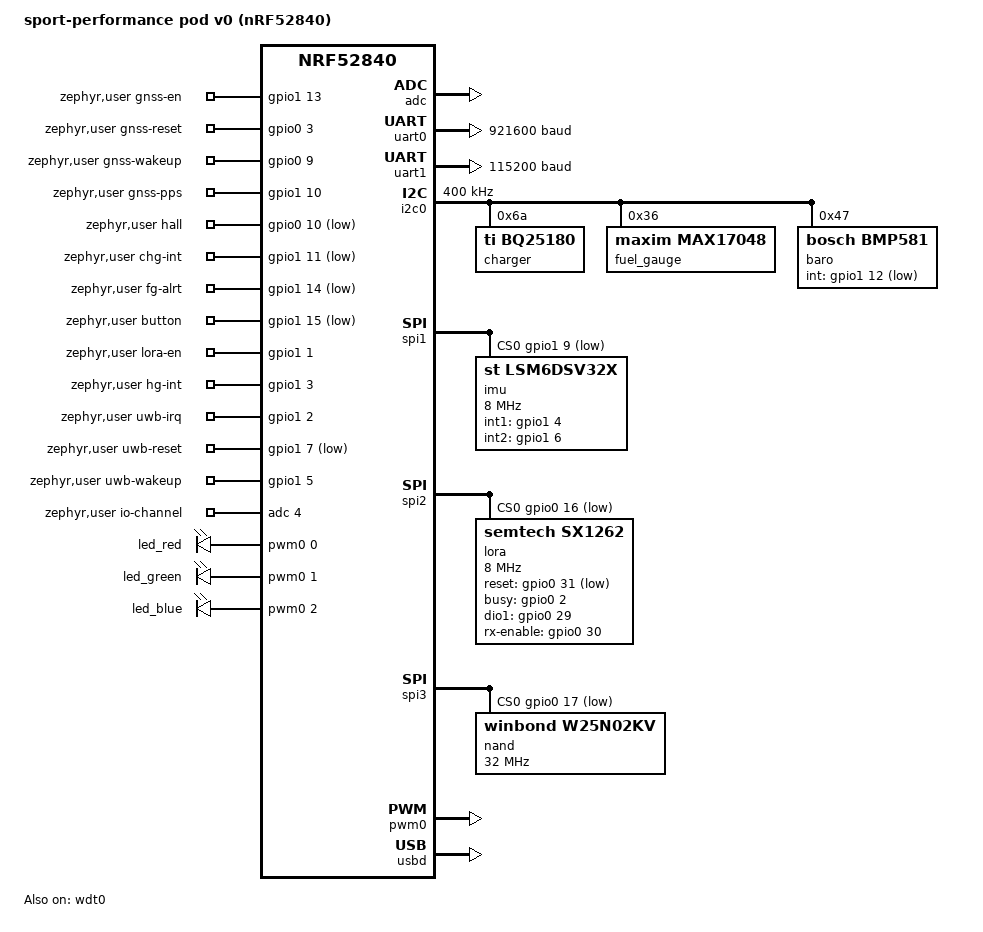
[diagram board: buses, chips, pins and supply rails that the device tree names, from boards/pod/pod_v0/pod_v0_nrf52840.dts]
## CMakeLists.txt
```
# Pod firmware (B-904): Zephyr application on the nRF Connect SDK.
#
#   west build -b pod_v0/nrf52840 sport-performance/firmware/app
#   west build -b nrf52840dk/nrf52840 sport-performance/firmware/app
#
# The custom board lives in app/boards (the application directory is a board root by default).
cmake_minimum_required(VERSION 3.20.0)

find_package(Zephyr REQUIRED HINTS $ENV{ZEPHYR_BASE})
project(pod_firmware C)

set(POD_LIB_DIR ${CMAKE_CURRENT_LIST_DIR}/../lib)

target_include_directories(app PRIVATE ${POD_LIB_DIR}/include src)

# Portable library: the same sources the host tests check against the golden fixtures,
# with the PSA backend instead of the reference software crypto.
target_sources(app PRIVATE
  ${POD_LIB_DIR}/src/crypto_psa.c
  ${POD_LIB_DIR}/src/crypto_selftest.c
  ${POD_LIB_DIR}/src/radio.c
  ${POD_LIB_DIR}/src/counters.c
  ${POD_LIB_DIR}/src/log.c
  ${POD_LIB_DIR}/src/gnss.c
  ${POD_LIB_DIR}/src/led.c
  ${POD_LIB_DIR}/src/power.c
  ${POD_LIB_DIR}/src/time_base.c)

# Zephyr glue, one file per module.
target_sources(app PRIVATE
  src/main.c
  src/boot_counter.c
  src/wdt.c
  src/led.c
  src/power.c
  src/hall.c
  src/time_base.c
  src/gnss_lc29h.c
  src/log_nand.c
  src/lora_link.c
  src/sensors.c)

zephyr_compile_definitions(POD_FIRMWARE_VERSION_MAJOR=${APP_VERSION_MAJOR}
                           POD_FIRMWARE_VERSION_MINOR=${APP_VERSION_MINOR}
                           POD_FIRMWARE_VERSION_PATCH=${APP_PATCHLEVEL})
```

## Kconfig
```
# Application options of the pod firmware (B-904).

menu "Pod firmware"

config POD_HW_REVISION
	int "Hardware revision written in firmware_info"
	default 0

config POD_GNSS_BAUD
	int "LC29H UART speed"
	default 921600
	help
	  The firmware starts at this speed and falls back to 115200 to reconfigure
	  the module (docs/hardware/lc29h-protocolo.md, "UART").

config POD_GNSS_FALLBACK_BAUD
	int "LC29H factory UART speed (not stated in the specification)"
	default 115200

config POD_CHARGE_CURRENT_MA
	int "BQ25180 charge current"
	default 300
	range 10 350
	help
	  300–350 mA: the BQ25180 is linear; more would fold back on temperature
	  inside the closed case (pod-v0.md).

config POD_WDT_TIMEOUT_MS
	int "nRF watchdog timeout"
	default 4000

config POD_MAIN_LOOP_MS
	int "Period of the power / LED loop"
	default 100

config POD_LORA
	bool "LoRa link (Ra-01SH, SX1262)"
	default y
	depends on LORA

config POD_SENSORS
	bool "IMU and barometer through the Zephyr sensor API"
	default y
	depends on SENSOR

endmenu

module = POD
module-str = pod
source "subsys/logging/Kconfig.template.log_config"

source "Kconfig.zephyr"
```

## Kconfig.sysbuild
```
# Sysbuild options of the pod firmware.

source "share/sysbuild/Kconfig"

config POD_RELEASE_BUILD
	bool "Release build of the pod firmware"
	help
	  A release image must be signed with the production key (kept outside the
	  repository). With this option the build fails if the MCUboot signing key is
	  still the public development key (see sysbuild.cmake).
```

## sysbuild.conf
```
# Sysbuild: MCUboot with signed images (ADR 0106, "Arranque seguro"), swap with test and
# confirm and automatic revert.
#
# SIGNING KEY: this file does NOT set SB_CONFIG_BOOT_SIGNATURE_KEY_FILE, so development builds
# (and CI) sign with MCUboot's public development key (bootloader/mcuboot/root-ec-p256.pem).
# That key is public: an image signed with it must never reach a pod in the field. Release
# builds pass -DSB_CONFIG_POD_RELEASE_BUILD=y and -DSB_CONFIG_BOOT_SIGNATURE_KEY_FILE=<key
# outside the repository>; sysbuild.cmake refuses a release signed with the development key.
# No key is committed to the repository (firmware/README.md, "Firma y MCUboot").
SB_CONFIG_BOOTLOADER_MCUBOOT=y
SB_CONFIG_BOOT_SIGNATURE_TYPE_ECDSA_P256=y
SB_CONFIG_MCUBOOT_MODE_SWAP_USING_MOVE=y
# Layout from the devicetree (flash0 partitions), never from the deprecated Partition
# Manager: the NVS partition of the counters stays at the same address in every update.
SB_CONFIG_PARTITION_MANAGER=n
```

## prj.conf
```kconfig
# Pod firmware (B-904), common to both boards.

# Logging (RTT on the pod, UART on the DK through the board conf).
CONFIG_LOG=y
CONFIG_POD_LOG_LEVEL_INF=y
CONFIG_MAIN_STACK_SIZE=4096
CONFIG_SYSTEM_WORKQUEUE_STACK_SIZE=2048

# Peripherals.
CONFIG_GPIO=y
CONFIG_SERIAL=y
CONFIG_UART_INTERRUPT_DRIVEN=y
CONFIG_SPI=y
CONFIG_I2C=y
CONFIG_PWM=y
CONFIG_ADC=y
CONFIG_HWINFO=y

# The nRF52840 WDT is mandatory (pod-v0.md): never disabled at boot by the bootloader either.
CONFIG_WATCHDOG=y
CONFIG_WDT_DISABLE_AT_BOOT=n

# System OFF (sys_poweroff) for the "System OFF" power state.
CONFIG_POWEROFF=y

# LoRa: SX1262 driver of Zephyr (loramac-node HAL).
CONFIG_LORA=y

# IMU (LSM6DSV32X) and barometer (BMP581) drivers.
CONFIG_SENSOR=y

# Persistent counters (boot counter, page sequence reservation, segment id): NVS in the
# internal flash (ADR 0106).
CONFIG_FLASH=y
CONFIG_FLASH_MAP=y
CONFIG_NVS=y
CONFIG_SETTINGS=y
CONFIG_SETTINGS_NVS=y

# PSA Crypto on the CryptoCell-310 (nrf_security): AES-128 CTR, CMAC, CCM and HKDF-SHA256.
CONFIG_PSA_CRYPTO=y
CONFIG_PSA_CRYPTO_DRIVER_CC3XX=y
CONFIG_PSA_WANT_KEY_TYPE_AES=y
CONFIG_PSA_WANT_AES_KEY_SIZE_128=y
CONFIG_PSA_WANT_ALG_CTR=y
CONFIG_PSA_WANT_ALG_CMAC=y
CONFIG_PSA_WANT_ALG_ECB_NO_PADDING=y
CONFIG_PSA_WANT_ALG_CCM=y
CONFIG_PSA_WANT_ALG_HKDF=y
CONFIG_PSA_WANT_ALG_HMAC=y
CONFIG_PSA_WANT_ALG_SHA_256=y

# MCUboot image confirmation after the boot self-test (boot_write_img_confirmed).
CONFIG_STREAM_FLASH=y
CONFIG_IMG_MANAGER=y
CONFIG_MCUBOOT_IMG_MANAGER=y

# PPS capture: generic PPI allocator (channels shared with the BLE controller).
CONFIG_NRFX_GPPI=y
```

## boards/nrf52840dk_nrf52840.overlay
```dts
/*
 * Bench setup on the nRF52840 DK (PCA10056) before the pod v0 PCB exists:
 * LC29H breakout, Ai-Thinker Ra-01SH, LSM6DSV32X evaluation board and a W25N
 * breakout wired to the DK headers. The wiring table is in firmware/README.md
 * ("Cableado del DK"); keep both in sync.
 *
 * Low-frequency pins: the Arduino SPI header of the DK (P1.13–P1.15) and the
 * A0–A5 / D8–D9 pins used here for the IMU and the LoRa are "low frequency" pins
 * of the nRF52840 (pod-v0.md); they are fine for the bench at reduced SPI speed
 * (1 MHz below) and the pod v0 keeps every SPI on fast pins.
 *
 * Differences with the pod: the console stays on UARTE0 (J-Link VCOM) and the
 * GNSS goes to UARTE1; button 1 stands in for the Hall sensor (pressed = in the
 * vest) and LEDs 1–3 for the RGB LED. There is no load switch, charger nor
 * fuel gauge unless their breakouts are wired to the I2C header.
 */

/ {
	zephyr,user {
		gnss-uart = <&uart1>;
		gnss-en-gpios = <&gpio1 4 GPIO_ACTIVE_HIGH>;	/* D3 → EN of the breakout (or unwired) */
		gnss-reset-gpios = <&gpio1 5 GPIO_ACTIVE_HIGH>;	/* D4 → NMOS gate to RESET_N */
		gnss-wakeup-gpios = <&gpio1 6 GPIO_ACTIVE_HIGH>;	/* D5 → WAKEUP */
		gnss-pps-gpios = <&gpio1 3 (GPIO_ACTIVE_HIGH | GPIO_PULL_UP)>;	/* D2 ← 1PPS */
		hall-gpios = <&gpio0 11 (GPIO_ACTIVE_LOW | GPIO_PULL_UP)>;	/* button 1 */
		button-gpios = <&gpio0 12 (GPIO_ACTIVE_LOW | GPIO_PULL_UP)>;	/* button 2 */
	};

	pwmleds {
		compatible = "pwm-leds";

		led_red: led_red {
			pwms = <&pwm0 0 PWM_USEC(1000) PWM_POLARITY_INVERTED>;	/* LED1 */
		};
		led_green: led_green {
			pwms = <&pwm0 1 PWM_USEC(1000) PWM_POLARITY_INVERTED>;	/* LED2 */
		};
		led_blue: led_blue {
			pwms = <&pwm0 2 PWM_USEC(1000) PWM_POLARITY_INVERTED>;	/* LED3 */
		};
	};

	aliases {
		led-red = &led_red;
		led-green = &led_green;
		led-blue = &led_blue;
	};
};

&pinctrl {
	pod_uart1_default: pod_uart1_default {
		group1 {
			psels = <NRF_PSEL(UART_TX, 1, 2)>;	/* D1 → LC29H RXD (2,8 V: translator) */
		};
		group2 {
			psels = <NRF_PSEL(UART_RX, 1, 1)>;	/* D0 ← LC29H TXD (2,8 V: translator) */
			bias-pull-up;
		};
	};

	pod_uart1_sleep: pod_uart1_sleep {
		group1 {
			psels = <NRF_PSEL(UART_TX, 1, 2)>,
				<NRF_PSEL(UART_RX, 1, 1)>;
			low-power-enable;
		};
	};

	pod_spi1_default: pod_spi1_default {
		group1 {
			psels = <NRF_PSEL(SPIM_SCK, 0, 31)>,	/* A5 */
				<NRF_PSEL(SPIM_MOSI, 0, 30)>,	/* A4 */
				<NRF_PSEL(SPIM_MISO, 0, 29)>;	/* A3 */
		};
	};

	pod_spi1_sleep: pod_spi1_sleep {
		group1 {
			psels = <NRF_PSEL(SPIM_SCK, 0, 31)>,
				<NRF_PSEL(SPIM_MOSI, 0, 30)>,
				<NRF_PSEL(SPIM_MISO, 0, 29)>;
			low-power-enable;
		};
	};

	pod_spi2_default: pod_spi2_default {
		group1 {
			psels = <NRF_PSEL(SPIM_SCK, 1, 15)>,	/* D13 */
				<NRF_PSEL(SPIM_MOSI, 1, 13)>,	/* D11 */
				<NRF_PSEL(SPIM_MISO, 1, 14)>;	/* D12 */
		};
	};

	pod_spi2_sleep: pod_spi2_sleep {
		group1 {
			psels = <NRF_PSEL(SPIM_SCK, 1, 15)>,
				<NRF_PSEL(SPIM_MOSI, 1, 13)>,
				<NRF_PSEL(SPIM_MISO, 1, 14)>;
			low-power-enable;
		};
	};

	pod_spi3_default: pod_spi3_default {
		group1 {
			psels = <NRF_PSEL(SPIM_SCK, 1, 7)>,	/* D6 */
				<NRF_PSEL(SPIM_MOSI, 1, 8)>,	/* D7 */
				<NRF_PSEL(SPIM_MISO, 1, 9)>;	/* P1.09 (P24 header) */
		};
	};

	pod_spi3_sleep: pod_spi3_sleep {
		group1 {
			psels = <NRF_PSEL(SPIM_SCK, 1, 7)>,
				<NRF_PSEL(SPIM_MOSI, 1, 8)>,
				<NRF_PSEL(SPIM_MISO, 1, 9)>;
			low-power-enable;
		};
	};

	pod_pwm0_default: pod_pwm0_default {
		group1 {
			psels = <NRF_PSEL(PWM_OUT0, 0, 13)>,	/* LED1 */
				<NRF_PSEL(PWM_OUT1, 0, 14)>,	/* LED2 */
				<NRF_PSEL(PWM_OUT2, 0, 15)>;	/* LED3 */
		};
	};

	pod_pwm0_sleep: pod_pwm0_sleep {
		group1 {
			psels = <NRF_PSEL(PWM_OUT0, 0, 13)>,
				<NRF_PSEL(PWM_OUT1, 0, 14)>,
				<NRF_PSEL(PWM_OUT2, 0, 15)>;
			low-power-enable;
		};
	};
};

/* GNSS on UARTE1 (the console keeps UARTE0 on the J-Link VCOM). */
&uart1 {
	compatible = "nordic,nrf-uarte";
	status = "okay";
	current-speed = <921600>;
	pinctrl-0 = <&pod_uart1_default>;
	pinctrl-1 = <&pod_uart1_sleep>;
	pinctrl-names = "default", "sleep";
};

/* Arduino I2C header: BMP581, MAX17048 and BQ25180 breakouts if wired. */
&i2c0 {
	compatible = "nordic,nrf-twim";
	status = "okay";
	clock-frequency = <I2C_BITRATE_FAST>;

	charger: bq25180@6a {
		compatible = "ti,bq25180";
		reg = <0x6a>;
		status = "disabled";
	};

	fuel_gauge: max17048@36 {
		compatible = "maxim,max17048";
		reg = <0x36>;
		status = "disabled";
	};

	baro: bmp581@47 {
		compatible = "bosch,bmp581";
		reg = <0x47>;
	};
};

/* LSM6DSV32X evaluation board (the IMU of the pod v0, WHO_AM_I 0x70). */
&spi1 {
	compatible = "nordic,nrf-spim";
	status = "okay";
	pinctrl-0 = <&pod_spi1_default>;
	pinctrl-1 = <&pod_spi1_sleep>;
	pinctrl-names = "default", "sleep";
	cs-gpios = <&gpio0 28 GPIO_ACTIVE_LOW>;	/* A2 */

	imu: lsm6dsv32x@0 {
		compatible = "st,lsm6dsv32x";
		reg = <0>;
		spi-max-frequency = <1000000>;
		int1-gpios = <&gpio0 2 GPIO_ACTIVE_HIGH>;	/* P0.02 (AREF pin) */
	};
};

/* Ra-01SH (SX1262 with a plain crystal: no TCXO on DIO3). */
&spi2 {
	compatible = "nordic,nrf-spim";
	status = "okay";
	pinctrl-0 = <&pod_spi2_default>;
	pinctrl-1 = <&pod_spi2_sleep>;
	pinctrl-names = "default", "sleep";
	cs-gpios = <&gpio1 12 GPIO_ACTIVE_LOW>;	/* D10 → NSS */

	lora: ra01sh@0 {
		compatible = "semtech,sx1262";
		reg = <0>;
		spi-max-frequency = <1000000>;
		reset-gpios = <&gpio0 3 GPIO_ACTIVE_LOW>;	/* A0 → NRST */
		busy-gpios = <&gpio1 11 GPIO_ACTIVE_HIGH>;	/* D9 ← BUSY */
		dio1-gpios = <&gpio1 10 GPIO_ACTIVE_HIGH>;	/* D8 ← DIO1 */
		rx-enable-gpios = <&gpio0 4 GPIO_ACTIVE_HIGH>;	/* A1 → RXEN */
		dio2-tx-enable;
	};
};

/* W25N02KV breakout (the DK's own QSPI NOR stays on its QSPI pins). */
&spi3 {
	compatible = "nordic,nrf-spim";
	status = "okay";
	pinctrl-0 = <&pod_spi3_default>;
	pinctrl-1 = <&pod_spi3_sleep>;
	pinctrl-names = "default", "sleep";
	cs-gpios = <&gpio1 0 GPIO_ACTIVE_LOW>;	/* P1.00 (P24 header) */

	nand: w25n02kv@0 {
		compatible = "winbond,w25n02kv";
		reg = <0>;
		spi-max-frequency = <1000000>;
		blocks = <2048>;
		pages-per-block = <64>;
		jedec-device-id = <0xaa22>;
	};
};

&pwm0 {
	status = "okay";
	pinctrl-0 = <&pod_pwm0_default>;
	pinctrl-1 = <&pod_pwm0_sleep>;
	pinctrl-names = "default", "sleep";
};

&wdt0 {
	status = "okay";
};
```

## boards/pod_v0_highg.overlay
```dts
/*
 * Pod v0, assembly variant pod-v0-highg (B-909): the ADXL372 (U403, ±200 g) is
 * mounted, on 2 of the 5 v0 boards, to measure how often the ±32 g of the
 * LSM6DSV32X saturate in contacts (docs/hardware/cotizacion/costos.md). Build:
 *
 *   west build -b pod_v0/nrf52840 sport-performance/firmware/app -- -DBOARD_ROOT=. \
 *     -DEXTRA_DTC_OVERLAY_FILE=boards/pod_v0_highg.overlay
 *
 * HG_INT (P1.03) then belongs to the ADXL372: the NAND load switch (U502, which
 * could use it as NAND_EN) is not mounted on this variant.
 */

&hg_accel {
	status = "okay";
};
```

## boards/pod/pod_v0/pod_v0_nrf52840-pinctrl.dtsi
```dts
/*
 * Pin assignment of the pod v0, from the table "Asignación" of
 * docs/hardware/pod-v0.md (u-blox BMD-340 pads in the comments).
 */

&pinctrl {
	/* UARTE0: LC29H through the 3,4 V ↔ 2,8 V translator. */
	uart0_default: uart0_default {
		group1 {
			psels = <NRF_PSEL(UART_TX, 0, 6)>;	/* GNSS_TX, pad 22 */
		};
		group2 {
			psels = <NRF_PSEL(UART_RX, 0, 8)>;	/* GNSS_RX, pad 24 */
			/* The translator is high-Z with the GNSS off: internal pull-up. */
			bias-pull-up;
		};
	};

	uart0_sleep: uart0_sleep {
		group1 {
			psels = <NRF_PSEL(UART_TX, 0, 6)>,
				<NRF_PSEL(UART_RX, 0, 8)>;
			low-power-enable;
		};
	};

	/* UARTE1: backup console pad (the main console is RTT). */
	uart1_default: uart1_default {
		group1 {
			psels = <NRF_PSEL(UART_TX, 0, 22)>;	/* DBG_TX, pad 40 */
		};
		group2 {
			psels = <NRF_PSEL(UART_RX, 0, 23)>;	/* DBG_RX, pad 41 */
			bias-pull-up;
		};
	};

	uart1_sleep: uart1_sleep {
		group1 {
			psels = <NRF_PSEL(UART_TX, 0, 22)>,
				<NRF_PSEL(UART_RX, 0, 23)>;
			low-power-enable;
		};
	};

	/* TWIM0: BQ25180, MAX17048, BMP581 (DPS368 not mounted). 4,7 kΩ pull-ups on the board. */
	i2c0_default: i2c0_default {
		group1 {
			psels = <NRF_PSEL(TWIM_SDA, 0, 12)>,	/* I2C_SDA, pad 28 */
				<NRF_PSEL(TWIM_SCL, 0, 7)>;	/* I2C_SCL, pad 23 */
		};
	};

	i2c0_sleep: i2c0_sleep {
		group1 {
			psels = <NRF_PSEL(TWIM_SDA, 0, 12)>,
				<NRF_PSEL(TWIM_SCL, 0, 7)>;
			low-power-enable;
		};
	};

	/* SPIM1: sensor bus (LSM6DSV32X; ADXL372 on pod-v0-highg; DWM3000 and ICM-42688-P not mounted), 8 MHz. */
	spi1_default: spi1_default {
		group1 {
			psels = <NRF_PSEL(SPIM_SCK, 0, 14)>,	/* SENS_SCK, pad 32 */
				<NRF_PSEL(SPIM_MOSI, 0, 13)>,	/* SENS_MOSI, pad 31 */
				<NRF_PSEL(SPIM_MISO, 0, 15)>;	/* SENS_MISO, pad 33 */
		};
	};

	spi1_sleep: spi1_sleep {
		group1 {
			psels = <NRF_PSEL(SPIM_SCK, 0, 14)>,
				<NRF_PSEL(SPIM_MOSI, 0, 13)>,
				<NRF_PSEL(SPIM_MISO, 0, 15)>;
			low-power-enable;
		};
	};

	/* SPIM2: own bus of the Ra-01SH (SX1262), 8 MHz. */
	spi2_default: spi2_default {
		group1 {
			psels = <NRF_PSEL(SPIM_SCK, 0, 24)>,	/* LORA_SCK, pad 42 */
				<NRF_PSEL(SPIM_MOSI, 0, 25)>,	/* LORA_MOSI, pad 6 */
				<NRF_PSEL(SPIM_MISO, 1, 0)>;	/* LORA_MISO, pad 56 */
		};
	};

	spi2_sleep: spi2_sleep {
		group1 {
			psels = <NRF_PSEL(SPIM_SCK, 0, 24)>,
				<NRF_PSEL(SPIM_MOSI, 0, 25)>,
				<NRF_PSEL(SPIM_MISO, 1, 0)>;
			low-power-enable;
		};
	};

	/*
	 * SPIM3: own bus of the W25N NAND on the recommended QSPI pins, up to 32 MHz:
	 * high drive (H0H1) as the nRF52840 asks at 32 MHz (RXDELAY is set by the driver).
	 */
	spi3_default: spi3_default {
		group1 {
			psels = <NRF_PSEL(SPIM_SCK, 0, 19)>,	/* NAND_SCK, pad 37 */
				<NRF_PSEL(SPIM_MOSI, 0, 20)>,	/* NAND_MOSI, pad 38 */
				<NRF_PSEL(SPIM_MISO, 0, 21)>;	/* NAND_MISO, pad 36 */
			nordic,drive-mode = <NRF_DRIVE_H0H1>;
		};
	};

	spi3_sleep: spi3_sleep {
		group1 {
			psels = <NRF_PSEL(SPIM_SCK, 0, 19)>,
				<NRF_PSEL(SPIM_MOSI, 0, 20)>,
				<NRF_PSEL(SPIM_MISO, 0, 21)>;
			low-power-enable;
		};
	};

	/* PWM0: gates of the three NMOS of the RGB LED (100 kΩ pull-downs on the gates). */
	pwm0_default: pwm0_default {
		group1 {
			psels = <NRF_PSEL(PWM_OUT0, 0, 11)>,	/* LED_R, pad 27 */
				<NRF_PSEL(PWM_OUT1, 0, 5)>,	/* LED_G, pad 21 */
				<NRF_PSEL(PWM_OUT2, 1, 8)>;	/* LED_B, pad 51 */
		};
	};

	pwm0_sleep: pwm0_sleep {
		group1 {
			psels = <NRF_PSEL(PWM_OUT0, 0, 11)>,
				<NRF_PSEL(PWM_OUT1, 0, 5)>,
				<NRF_PSEL(PWM_OUT2, 1, 8)>;
			low-power-enable;
		};
	};

	/* PWM1: buzzer NMOS (not mounted). */
	pwm1_default: pwm1_default {
		group1 {
			psels = <NRF_PSEL(PWM_OUT0, 0, 4)>;	/* BUZZER, pad 20 */
		};
	};

	pwm1_sleep: pwm1_sleep {
		group1 {
			psels = <NRF_PSEL(PWM_OUT0, 0, 4)>;
			low-power-enable;
		};
	};
};
```

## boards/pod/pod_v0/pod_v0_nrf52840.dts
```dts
/*
 * Pod v0 (B-909): u-blox BMD-340 (nRF52840), LC29H, Ai-Thinker Ra-01SH (SX1262),
 * LSM6DSV32X, W25N02KV, BQ25180, MAX17048, BMP581 (in-stock redesign of
 * 09/11/2026). Every pin comes from docs/hardware/pod-v0.md ("Pines del
 * nRF52840"); keep both in sync. The nRF52840 port pins are the same as with
 * the Raytac module: only the module pads in the comments changed.
 */

/dts-v1/;
#include <nordic/nrf52840_qiaa.dtsi>
#include "pod_v0_nrf52840-pinctrl.dtsi"

/ {
	model = "sport-performance pod v0 (nRF52840)";
	compatible = "sport-performance,pod-v0";

	chosen {
		zephyr,console = &uart1;
		zephyr,shell-uart = &uart1;
		zephyr,code-partition = &slot0_partition;
		zephyr,flash = &flash0;
		zephyr,sram = &sram0;
	};

	/*
	 * Application GPIOs without a Zephyr driver (read by app/src/*.c with
	 * GPIO_DT_SPEC_GET_OR). Every enable has a 100 kΩ pull-down on the board,
	 * so the rails stay off during reset, DFU and the System OFF wake-up.
	 */
	zephyr,user {
		gnss-uart = <&uart0>;
		/* EN of the 3,2 V LDO of the GNSS (active discharge): the GNSS power cut. */
		gnss-en-gpios = <&gpio1 13 GPIO_ACTIVE_HIGH>;	/* GNSS_EN, pad 62 */
		/* NPN/NMOS open drain to RESET_N: high here = module in reset (≥ 100 ms). */
		gnss-reset-gpios = <&gpio0 3 GPIO_ACTIVE_HIGH>;	/* GNSS_RST, pad 19 */
		/* WAKEUP (3,0–3,6 V high): ≥ 10 ms pulse out of backup, input otherwise. */
		gnss-wakeup-gpios = <&gpio0 9 GPIO_ACTIVE_HIGH>;	/* GNSS_WAKEUP, pad 25 (NFC1) */
		/* 1PPS: GPIOTE → PPI → TIMER capture (app/src/time_base.c). */
		gnss-pps-gpios = <&gpio1 10 (GPIO_ACTIVE_HIGH | GPIO_PULL_UP)>;	/* pad 53 */
		/* DRV5032FA (or FB) push-pull through a series resistor: low = pod in the vest. */
		hall-gpios = <&gpio0 10 GPIO_ACTIVE_LOW>;	/* HALL_INT, pad 26 (NFC2) */
		/* BQ25180 /INT, open drain, 128 µs pulse. */
		chg-int-gpios = <&gpio1 11 (GPIO_ACTIVE_LOW | GPIO_PULL_UP)>;	/* pad 54 */
		/* MAX17048 /ALRT, open drain. */
		fg-alrt-gpios = <&gpio1 14 (GPIO_ACTIVE_LOW | GPIO_PULL_UP)>;	/* pad 63 */
		/* Bench button to GND. */
		button-gpios = <&gpio1 15 (GPIO_ACTIVE_LOW | GPIO_PULL_UP)>;	/* pad 64 */
		/* ON of the TPS22919 load switch of the Ra-01SH (U303). */
		lora-en-gpios = <&gpio1 1 GPIO_ACTIVE_HIGH>;	/* LORA_EN, pad 57 */
		/* ADXL372 INT1 (not mounted) or NAND_EN by 0 Ω: one or the other. */
		hg-int-gpios = <&gpio1 3 GPIO_ACTIVE_HIGH>;	/* pad 59 */
		/* DWM3000 (not mounted). */
		uwb-irq-gpios = <&gpio1 2 GPIO_ACTIVE_HIGH>;	/* pad 58 */
		uwb-reset-gpios = <&gpio1 7 (GPIO_ACTIVE_LOW | GPIO_OPEN_DRAIN)>;	/* pad 50 */
		uwb-wakeup-gpios = <&gpio1 5 GPIO_ACTIVE_HIGH>;	/* pad 48 */
		/* Divider from SYS (not mounted) on AIN4: rescue if the MAX17048 fails. */
		io-channels = <&adc 4>;	/* VBAT_ADC = P0.28, pad 9 */
	};

	pwmleds {
		compatible = "pwm-leds";

		led_red: led_red {
			pwms = <&pwm0 0 PWM_USEC(1000) PWM_POLARITY_NORMAL>;
		};
		led_green: led_green {
			pwms = <&pwm0 1 PWM_USEC(1000) PWM_POLARITY_NORMAL>;
		};
		led_blue: led_blue {
			pwms = <&pwm0 2 PWM_USEC(1000) PWM_POLARITY_NORMAL>;
		};
	};

	aliases {
		watchdog0 = &wdt0;
		led-red = &led_red;
		led-green = &led_green;
		led-blue = &led_blue;
	};
};

/*
 * REG0 (the VDDH stage) is not used: VDD and VDDH both on VREG (normal voltage
 * mode) and DCCH unconnected (pod-v0.md), so its DC/DC stays off. No &reg0 node.
 */

/*
 * VCC and VCCH of the BMD-340 tied to VREG (3,4 V): LV (normal) mode of its data
 * sheet (table 8), DC/DC of Reg1 on (inductor inside the module).
 */
&reg1 {
	regulator-initial-mode = <NRF5X_REG_MODE_DCDC>;
};

/*
 * UICR, written at the first programming (production step, B-909): NFC pads
 * P0.09/P0.10 as GPIO (GNSS WAKEUP and Hall) and P0.18 as nRESET.
 */
&uicr {
	nfct-pins-as-gpios;
	gpio-as-nreset;
};

&nfct {
	status = "disabled";
};

&gpiote {
	status = "okay";
};

&gpio0 {
	status = "okay";
	/* XL1/XL2 carry the 32,768 kHz crystal; P0.18 is nRESET. */
	gpio-reserved-ranges = <0 2>, <18 1>;
};

&gpio1 {
	status = "okay";
};

&adc {
	status = "okay";
};

&wdt0 {
	status = "okay";
};

/* GNSS, 921600 bps by default (lc29h-protocolo.md); the driver falls back to 115200. */
&uart0 {
	compatible = "nordic,nrf-uarte";
	status = "okay";
	current-speed = <921600>;
	pinctrl-0 = <&uart0_default>;
	pinctrl-1 = <&uart0_sleep>;
	pinctrl-names = "default", "sleep";
};

/* Backup console. */
&uart1 {
	compatible = "nordic,nrf-uarte";
	status = "okay";
	current-speed = <115200>;
	pinctrl-0 = <&uart1_default>;
	pinctrl-1 = <&uart1_sleep>;
	pinctrl-names = "default", "sleep";
};

&i2c0 {
	compatible = "nordic,nrf-twim";
	status = "okay";
	clock-frequency = <I2C_BITRATE_FAST>;
	pinctrl-0 = <&i2c0_default>;
	pinctrl-1 = <&i2c0_sleep>;
	pinctrl-names = "default", "sleep";

	/* The application writes its registers itself (pod/power.h): the Zephyr driver stays off. */
	charger: bq25180@6a {
		compatible = "ti,bq25180";
		reg = <0x6a>;
	};

	/* VDD and CELL on the cell: measures even with SYS cut. Address not verified. */
	fuel_gauge: max17048@36 {
		compatible = "maxim,max17048";
		reg = <0x36>;
	};

	/* SDO to VDDIO (0x47), CSB to VDDIO (I2C), INT open drain active low. Not verified. */
	baro: bmp581@47 {
		compatible = "bosch,bmp581";
		reg = <0x47>;
		int-gpios = <&gpio1 12 (GPIO_ACTIVE_LOW | GPIO_PULL_UP)>;	/* BARO_INT, pad 61 */
	};
};

&spi1 {
	compatible = "nordic,nrf-spim";
	status = "okay";
	pinctrl-0 = <&spi1_default>;
	pinctrl-1 = <&spi1_sleep>;
	pinctrl-names = "default", "sleep";
	cs-gpios = <&gpio1 9 GPIO_ACTIVE_LOW>,	/* IMU_CS, pad 52 */
		   <&gpio0 27 GPIO_ACTIVE_LOW>,	/* UWB_CS, pad 8 (static CS) */
		   <&gpio0 26 GPIO_ACTIVE_LOW>;	/* HG_CS, pad 7 (static CS) */

	/*
	 * LSM6DSV32X (WHO_AM_I 0x70): driven by the lsm6dsv16x driver of NCS 3.4.1
	 * (compatible st,lsm6dsv32x). Channel 1 at ±16 g for the run; the second
	 * channel, fixed at ±32 g, is read by imu_batch (firmware/README.md).
	 */
	imu: lsm6dsv32x@0 {
		compatible = "st,lsm6dsv32x";
		reg = <0>;
		spi-max-frequency = <8000000>;
		accel-range = <16>;
		int1-gpios = <&gpio1 4 GPIO_ACTIVE_HIGH>;	/* IMU_INT1, pad 60: motion wake-up */
		int2-gpios = <&gpio1 6 GPIO_ACTIVE_HIGH>;	/* IMU_INT2, pad 49 */
	};

	/*
	 * ADXL372 (±200 g, U403): mounted only on the pod-v0-highg assembly variant
	 * (2 of the 5 v0 boards). Enable it there with boards/pod_v0_highg.overlay.
	 */
	hg_accel: adxl372@2 {
		compatible = "adi,adxl372";
		reg = <2>;
		spi-max-frequency = <8000000>;
		int1-gpios = <&gpio1 3 GPIO_ACTIVE_HIGH>;	/* HG_INT, pad 59 */
		status = "disabled";
	};
};

&spi2 {
	compatible = "nordic,nrf-spim";
	status = "okay";
	pinctrl-0 = <&spi2_default>;
	pinctrl-1 = <&spi2_sleep>;
	pinctrl-names = "default", "sleep";
	cs-gpios = <&gpio0 16 GPIO_ACTIVE_LOW>;	/* LORA_NSS, pad 34 */

	/*
	 * Ai-Thinker Ra-01SH: plain crystal, no TCXO (no dio3-tcxo-voltage). Its RF
	 * switch follows DIO2 inside the module (TXEN tied to DIO2, module schematic);
	 * RXEN is driven anyway, high to receive. Frequency error checked on the
	 * bench (pod-v0.md); fallback with TCXO: NiceRF LoRa1262-915TCXO.
	 */
	lora: ra01sh@0 {
		compatible = "semtech,sx1262";
		reg = <0>;
		spi-max-frequency = <8000000>;
		reset-gpios = <&gpio0 31 GPIO_ACTIVE_LOW>;	/* LORA_NRST, pad 12 */
		busy-gpios = <&gpio0 2 GPIO_ACTIVE_HIGH>;	/* LORA_BUSY, pad 15 */
		dio1-gpios = <&gpio0 29 GPIO_ACTIVE_HIGH>;	/* LORA_DIO1, pad 10 */
		rx-enable-gpios = <&gpio0 30 GPIO_ACTIVE_HIGH>;	/* LORA_RXEN, pad 11 */
		dio2-tx-enable;
	};
};

&spi3 {
	compatible = "nordic,nrf-spim";
	status = "okay";
	pinctrl-0 = <&spi3_default>;
	pinctrl-1 = <&spi3_sleep>;
	pinctrl-names = "default", "sleep";
	cs-gpios = <&gpio0 17 GPIO_ACTIVE_LOW>;	/* NAND_CS, pad 35 */
	/* Errata 198: the SPIM3 buffers live in their own RAM block (app/src/log_nand.c). */

	nand: w25n02kv@0 {
		compatible = "winbond,w25n02kv";
		reg = <0>;
		spi-max-frequency = <32000000>;
		blocks = <2048>;
		pages-per-block = <64>;
		jedec-device-id = <0xaa22>;
	};
};

&pwm0 {
	status = "okay";
	pinctrl-0 = <&pwm0_default>;
	pinctrl-1 = <&pwm0_sleep>;
	pinctrl-names = "default", "sleep";
};

/* Buzzer, not mounted. */
&pwm1 {
	status = "disabled";
	pinctrl-0 = <&pwm1_default>;
	pinctrl-1 = <&pwm1_sleep>;
	pinctrl-names = "default", "sleep";
};

/*
 * Flash layout, pinned here (no Partition Manager, SB_CONFIG_PARTITION_MANAGER=n):
 * MCUboot, two application slots of 472 KB for the swap (ADR 0106: about
 * 450 KB each) and the NVS of the persistent counters at the end. Changing
 * these addresses in an update would lose the boot counter and the page
 * sequence reservation: never move `storage_partition`.
 */
&flash0 {
	partitions {
		ranges;
		#address-cells = <1>;
		#size-cells = <1>;

		boot_partition: partition@0 {
			compatible = "zephyr,mapped-partition";
			label = "mcuboot";
			reg = <0x00000000 0x0000c000>;
		};
		slot0_partition: partition@c000 {
			compatible = "zephyr,mapped-partition";
			label = "image-0";
			reg = <0x0000c000 0x00076000>;
		};
		slot1_partition: partition@82000 {
			compatible = "zephyr,mapped-partition";
			label = "image-1";
			reg = <0x00082000 0x00076000>;
		};
		storage_partition: partition@f8000 {
			compatible = "zephyr,mapped-partition";
			label = "storage";
			reg = <0x000f8000 0x00008000>;
		};
	};
};

/* USB through the dock pads (D+/D- pads 68/67, VBUS pad 66 after the input switch). */
zephyr_udc0: &usbd {
	compatible = "nordic,nrf-usbd";
	status = "okay";
};
```

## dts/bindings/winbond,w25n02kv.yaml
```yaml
description: |
  Winbond W25N02KV serial NAND (2 Gbit: 2048 blocks of 64 pages of 2048 B plus
  128 B of spare), the NAND of the pod v0, on SPI, driven by the pod firmware
  itself (app/src/log_nand.c): the log format needs the page ECC status and the
  bad-block marker, which the generic flash API does not expose. The W25N04KV
  (4 Gbit, 4096 blocks) fits the same footprint with the same commands and the
  same 24-bit page address: set `blocks` and `jedec-device-id` for it (Winbond
  datasheets W25N02KVxxIR/U Rev. G and W25N04KVxxIR/U Rev. C).

compatible: 'winbond,w25n02kv'

include: spi-device.yaml

properties:
  blocks:
    type: int
    required: true
    description: Erase blocks (2048 in the W25N02KV, 4096 in the W25N04KV).

  pages-per-block:
    type: int
    default: 64
    description: Pages per erase block.

  jedec-device-id:
    type: int
    required: true
    description: |
      Device ID after the Winbond manufacturer byte EFh in the JEDEC ID (9Fh):
      0xAA22 for the W25N02KV, 0xAA23 for the W25N04KV. The driver refuses a
      chip that does not match, so `blocks` never claims blocks the chip lacks.

  enable-gpios:
    type: phandle-array
    description: |
      EN of the optional load switch of the NAND rail (NAND_EN, not mounted on
      the v0). Never cut during a program or an erase.
```

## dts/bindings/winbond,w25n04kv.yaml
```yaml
description: |
  Winbond W25N04KV / W25N02KV serial NAND (2048 B pages, 64 pages per block) on
  SPI, driven by the pod firmware itself (app/src/log_nand.c): the log format
  needs the page ECC status and the bad-block marker, which the generic flash
  API does not expose.

compatible: 'winbond,w25n04kv'

include: spi-device.yaml

properties:
  blocks:
    type: int
    required: true
    description: Erase blocks (4096 in the W25N04KV, 2048 in the W25N02KV).

  pages-per-block:
    type: int
    default: 64
    description: Pages per erase block.

  enable-gpios:
    type: phandle-array
    description: |
      EN of the optional load switch of the NAND rail (NAND_EN, not mounted on
      the v0). Never cut during a program or an erase.
```

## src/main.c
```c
/*
 * Pod firmware (B-904): boot, self-test and the power / LED loop.
 *
 * Boot order: watchdog first (mandatory), LED (white boot pattern), crypto
 * known-answer self-test, persistent counters (boot counter saved before any
 * TX), charger plan (EN_PUSH, 15 s watchdog, charge current), Hall, time base,
 * sensors, NAND, GNSS and LoRa. A failed self-test shows its number on the LED
 * and the pod neither records nor transmits.
 *
 * The loop feeds the inputs (VBUS, Hall, motion, battery) to the power state
 * machine of firmware/lib/src/power.c and executes its actions.
 */
#include <zephyr/dfu/mcuboot.h>
#include <zephyr/kernel.h>
#include <zephyr/logging/log.h>

#include "pod/crypto.h"
#include "pod/selftest.h"
#include "pod_app.h"

LOG_MODULE_REGISTER(pod_main, CONFIG_POD_LOG_LEVEL);

static void fail_forever(int code)
{
	LOG_ERR("self-test failed: %d", code);
	pod_led_show(POD_LED_SELFTEST_ERROR, (uint8_t)code);
	for (;;) {
		pod_led_update(k_uptime_get_32(), pod_power_vsys_mv());
		pod_wdt_feed();
		k_msleep(CONFIG_POD_MAIN_LOOP_MS);
	}
}

static void log_firmware_info(void)
{
	struct pod_log_record r = {
		.type = POD_REC_FIRMWARE_INFO,
		.tick = pod_tick_now(),
		.u.firmware_info = {
			.major = POD_FIRMWARE_VERSION_MAJOR,
			.minor = POD_FIRMWARE_VERSION_MINOR,
			.patch = POD_FIRMWARE_VERSION_PATCH,
			.build_id = 0, /* TODO(B-904): first 4 B of the git commit from the build */
			.hardware_revision = CONFIG_POD_HW_REVISION,
			.algorithm_version = 1,
			.radio_protocol_version = POD_PROTOCOL_VERSION,
			.log_format_version = POD_LOG_FORMAT_VERSION,
			.gnss_firmware = pod_gnss_version(),
		},
	};

	(void)pod_log_append(&r);
}

static enum pod_led_state led_for(enum pod_power_state state, bool vbus, uint8_t battery_pct)
{
	struct pod_gnss_pvt pvt;

	if (battery_pct != 127 && battery_pct < 5) {
		return POD_LED_BATTERY_CRITICAL;
	}
	if (battery_pct != 127 && battery_pct < 20 && !vbus) {
		return POD_LED_BATTERY_LOW;
	}
	switch (state) {
	case POD_POWER_DOCKED:
		/* TODO(B-904): full, downloading and download error from the charger and USB. */
		return POD_LED_DOCK_CHARGING;
	case POD_POWER_ACTIVE:
		pod_gnss_latest(&pvt);
		/* TODO(B-904): link with the gateway (beacons) decides READY vs NO_LINK. */
		return pvt.valid ? POD_LED_RECORDING_NO_LINK : POD_LED_GNSS_SEARCH;
	default:
		return POD_LED_OFF;
	}
}

static void execute(struct pod_power_machine *machine, const struct pod_power_inputs *in,
		    const struct pod_power_result *r)
{
	if (r->actions & POD_PWR_ACT_CLOSE_SESSION) {
		(void)pod_log_close_segment();
	}
	if (r->actions & POD_PWR_ACT_GNSS_BACKUP) {
		(void)pod_gnss_power(false);
		(void)pod_time_base_capture(false);
	}
	if (r->actions & POD_PWR_ACT_LORA_OFF) {
		(void)pod_lora_power(false);
	}
	if (r->actions & POD_PWR_ACT_IMU_LOW_POWER) {
		(void)pod_sensors_low_power(true);
	}
	if (r->actions & POD_PWR_ACT_GNSS_ON) {
		(void)pod_time_base_capture(true);
		(void)pod_gnss_power(true);
	}
	if (r->actions & POD_PWR_ACT_LORA_ON) {
		(void)pod_lora_power(true);
	}
	if (r->actions & POD_PWR_ACT_IMU_SESSION_RATE) {
		(void)pod_sensors_low_power(false);
	}
	if (r->actions & POD_PWR_ACT_OPEN_SESSION) {
		if (pod_log_start_segment() == 0) {
			log_firmware_info();
		}
	}
	if (r->actions & POD_PWR_ACT_SHIP_MODE) {
		(void)pod_power_ship_mode();
	}
	if (r->actions & POD_PWR_ACT_SYSTEM_OFF) {
		struct pod_power_config cfg;
		struct pod_wake_plan plan;

		/* TODO(B-904): the club configuration replaces the placeholder defaults. */
		pod_power_config_defaults(&cfg);
		plan = pod_power_wake_plan(&cfg, in->in_vest);
		if (pod_power_system_off(&plan) != 0) {
			/* A wake source is active: stay in standby and let the machine retry. */
			pod_power_init(machine, &cfg, in);
		}
	}
}

static struct pod_power_inputs read_inputs(void)
{
	struct pod_power_inputs in = {
		.now_ms = k_uptime_get_32(),
		.vbus = pod_power_vbus(),
		.in_vest = pod_hall_in_vest(),
		.moving = pod_sensors_moving(),
		.battery_pct = pod_power_battery_pct(),
		.nand_idle = pod_log_idle(),
	};

	/* TODO(B-904): app close and ship requests arrive over BLE / the beacon. */
	return in;
}

int main(void)
{
	struct pod_power_machine machine;
	struct pod_power_config cfg;
	struct pod_power_inputs in;
	int rc;

	if (pod_wdt_init() != 0) {
		LOG_ERR("watchdog");
	}
	(void)pod_led_init();
	rc = pod_crypto_init();
	if (rc == 0) {
		rc = pod_crypto_selftest();
	}
	if (rc != 0) {
		fail_forever(rc > 0 ? rc : POD_SELFTEST_CCM);
	}
	if (pod_persist_init() != 0) {
		/*
		 * Not confirmed: an update that cannot use its counters (NVS) is
		 * reverted by MCUboot at the next reset.
		 */
		LOG_ERR("persistent counters: the pod will neither transmit nor record");
	} else if (!boot_is_img_confirmed() && boot_write_img_confirmed() != 0) {
		/* Self-test passed and counters committed: keep this image after a test swap. */
		LOG_ERR("image not confirmed: MCUboot will revert it");
	}
	if (pod_power_hw_init() != 0) {
		LOG_WRN("charger not configured");
	}
	(void)pod_hall_init();
	(void)pod_time_base_init();
	if (pod_sensors_init() != 0) {
		LOG_WRN("sensors incomplete");
	}
	if (pod_log_init() != 0) {
		LOG_WRN("NAND not found");
	}
	if (pod_gnss_init() != 0) {
		LOG_WRN("GNSS boot sequence incomplete");
	}
	if (pod_lora_init() != 0) {
		LOG_WRN("LoRa not ready");
	}

	pod_power_config_defaults(&cfg);
	in = read_inputs();
	pod_power_init(&machine, &cfg, &in);
	LOG_INF("pod up, state %d", machine.state);

	for (;;) {
		struct pod_power_result r;
		struct pod_pps_anchor anchor;

		in = read_inputs();
		r = pod_power_step(&machine, &in);
		execute(&machine, &in, &r);
		pod_power_service(in.now_ms);
		if (pod_time_base_poll_pps(&anchor)) {
			/* TODO(B-904): pair with the GNSS second of the epoch → `time_anchor` record. */
			LOG_DBG("PPS at tick %llu + %u ns", (unsigned long long)anchor.tick,
				anchor.sub_tick_ns);
		}
		pod_led_show(led_for(r.state, in.vbus, in.battery_pct), 0);
		pod_led_update(in.now_ms, pod_power_vsys_mv());
		pod_wdt_feed();
		k_msleep(CONFIG_POD_MAIN_LOOP_MS);
	}
	return 0;
}
```

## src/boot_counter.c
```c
/*
 * Settings (NVS) backend of the persistent counters. The rules (commit after
 * save, page-sequence reservation, never reuse) are pure in
 * firmware/lib/src/counters.c and host-tested with a fake store.
 *
 * The NVS lives in `storage_partition`, pinned in the devicetree of the board
 * so a firmware update never moves it. A chip erase or a recover wipes it:
 * the counters restart, so the pod must be re-keyed (new key epoch) at the
 * dock before it transmits or records again (firmware/README.md).
 */
#include <errno.h>

#include <zephyr/kernel.h>
#include <zephyr/logging/log.h>
#include <zephyr/settings/settings.h>

#include "pod/counters.h"
#include "pod_app.h"

LOG_MODULE_REGISTER(pod_counters, CONFIG_POD_LOG_LEVEL);

static const char *const names[] = {
	[POD_COUNTER_BOOT] = "pod/boot",
	[POD_COUNTER_PAGE_SEQ_RESERVED] = "pod/pageseq",
	[POD_COUNTER_SEGMENT_ID] = "pod/segment",
};

static uint32_t loaded[3];
static struct pod_counters counters;
static K_MUTEX_DEFINE(lock);

static int set(const char *name, size_t len, settings_read_cb read_cb, void *cb_arg)
{
	static const char *const keys[] = {"boot", "pageseq", "segment"};

	for (size_t i = 0; i < ARRAY_SIZE(keys); i++) {
		if (settings_name_steq(name, keys[i], NULL)) {
			if (len != sizeof(uint32_t)) {
				return -EINVAL;
			}
			return read_cb(cb_arg, &loaded[i], sizeof(uint32_t)) == sizeof(uint32_t)
				       ? 0
				       : -EIO;
		}
	}
	return -ENOENT;
}

SETTINGS_STATIC_HANDLER_DEFINE(pod, "pod", NULL, set, NULL, NULL);

static int store_load(void *ctx, enum pod_counter_key key, uint32_t *value)
{
	ARG_UNUSED(ctx);
	*value = loaded[key];
	return 0;
}

static int store_save(void *ctx, enum pod_counter_key key, uint32_t value)
{
	ARG_UNUSED(ctx);
	return settings_save_one(names[key], &value, sizeof(value));
}

int pod_persist_init(void)
{
	const struct pod_counter_store store = {.load = store_load, .save = store_save};
	int rc = settings_subsys_init();

	if (rc == 0) {
		rc = settings_load_subtree("pod");
	}
	if (rc != 0) {
		LOG_ERR("settings: %d", rc);
		return rc;
	}
	k_mutex_lock(&lock, K_FOREVER);
	rc = pod_counters_boot(&counters, &store);
	k_mutex_unlock(&lock);
	if (rc != POD_OK) {
		/* Not ready: the pod neither transmits nor records (nonce / IV safety). */
		LOG_ERR("counters not committed (%d)", rc);
		return -EIO;
	}
	LOG_INF("boot %u, page sequence from %u", counters.boot, counters.page_seq_next);
	return 0;
}

bool pod_persist_ready(void)
{
	return pod_counters_ready(&counters);
}

uint32_t pod_persist_boot(void)
{
	return counters.boot;
}

int pod_persist_set_boot(uint32_t boot_counter)
{
	int rc;

	k_mutex_lock(&lock, K_FOREVER);
	rc = pod_counters_set_boot(&counters, boot_counter);
	k_mutex_unlock(&lock);
	return rc;
}

int pod_persist_take_page_seq(void *ctx, uint32_t *page_seq)
{
	int rc;

	ARG_UNUSED(ctx);
	k_mutex_lock(&lock, K_FOREVER);
	rc = pod_counters_take_page_seq(&counters, page_seq);
	k_mutex_unlock(&lock);
	return rc;
}

int pod_persist_next_segment(uint32_t *segment_id)
{
	int rc;

	k_mutex_lock(&lock, K_FOREVER);
	rc = pod_counters_next_segment(&counters, segment_id);
	k_mutex_unlock(&lock);
	return rc;
}
```

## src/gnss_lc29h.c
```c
/*
 * LC29H on UARTE0 (UARTE1 on the DK): power and pins, the boot command
 * sequence with its acknowledgements, and the RX path that splits NMEA lines
 * from RTCM3 frames (firmware/lib/src/gnss.c, host-tested).
 *
 * Stub status (B-904): the sequence and parsers are real; the baud fallback,
 * the 1 Hz raw selection into `gnss_raw` records and the epoch/PPS pairing are
 * TODO until the bench (banco-gnss.md, B-901) confirms the module behaviour.
 */
#include <stdlib.h>
#include <string.h>

#include <zephyr/drivers/gpio.h>
#include <zephyr/drivers/uart.h>
#include <zephyr/kernel.h>
#include <zephyr/logging/log.h>
#include <zephyr/sys/ring_buffer.h>

#include "pod_app.h"

LOG_MODULE_REGISTER(pod_gnss, CONFIG_POD_LOG_LEVEL);

#define USER_NODE DT_PATH(zephyr_user)

static const struct device *const uart = DEVICE_DT_GET(DT_PHANDLE(USER_NODE, gnss_uart));
static const struct gpio_dt_spec en = GPIO_DT_SPEC_GET_OR(USER_NODE, gnss_en_gpios, {0});
static const struct gpio_dt_spec reset = GPIO_DT_SPEC_GET_OR(USER_NODE, gnss_reset_gpios, {0});
static const struct gpio_dt_spec wakeup = GPIO_DT_SPEC_GET_OR(USER_NODE, gnss_wakeup_gpios, {0});

RING_BUF_DECLARE(rx_ring, 4096);
static K_SEM_DEFINE(rx_sem, 0, 1);
static K_SEM_DEFINE(ack_sem, 0, 1);
static K_MUTEX_DEFINE(pvt_lock);

static struct pod_gnss_stream stream;
static struct pod_gnss_pvt latest;
static struct pod_gnss_pvt building;
static char version[65];

/*
 * What the command runner (the GNSS worker thread, the only one that writes to
 * the UART) is waiting for; read by the RX thread under `wait_lock`.
 */
static struct k_spinlock wait_lock;
static const struct pod_gnss_command *waiting;
static int waiting_result;
/* Configuration answers of step 1 that match `pod_lc29h_aa_expected` (bitmask). */
static uint32_t answers_matching;

/* Power wanted by the main loop; the worker applies it. */
static atomic_t want_on;
static K_SEM_DEFINE(request_sem, 0, 1);

static void uart_isr(const struct device *dev, void *user_data)
{
	ARG_UNUSED(user_data);
	while (uart_irq_update(dev) && uart_irq_rx_ready(dev)) {
		uint8_t buf[64];
		int n = uart_fifo_read(dev, buf, sizeof(buf));

		if (n <= 0) {
			break;
		}
		if (ring_buf_put(&rx_ring, buf, (uint32_t)n) != (uint32_t)n) {
			/* Overrun: the parser resyncs on the next '$' or 0xD3. */
		}
		k_sem_give(&rx_sem);
	}
}

static bool starts_with(const char *body, size_t len, const char *name)
{
	size_t n = strlen(name);

	return len >= n && memcmp(body, name, n) == 0 && (len == n || body[n] == ',');
}

static void handle_ack_locked(const struct pod_gnss_command *cmd, const char *body, size_t len)
{
	char name[32];
	const char *comma;
	size_t name_len;

	comma = strchr(cmd->body, ',');
	name_len = comma ? (size_t)(comma - cmd->body) : strlen(cmd->body);
	if (name_len >= sizeof(name)) {
		return;
	}
	memcpy(name, cmd->body, name_len);
	name[name_len] = '\0';

	switch (cmd->expect) {
	case POD_GNSS_EXPECT_PAIR_ACK: {
		uint16_t id;
		int result;

		if (pod_pair_ack_parse(body, len, &id, &result) == POD_OK &&
		    strtoul(&name[4], NULL, 10) == id && result != POD_PAIR_PROCESSING) {
			waiting_result = result;
			k_sem_give(&ack_sem);
		}
		break;
	}
	case POD_GNSS_EXPECT_PQTM_OK: {
		int rc = pod_pqtm_response_parse(body, len, name);

		if (rc >= 0) {
			waiting_result = rc;
			k_sem_give(&ack_sem);
		}
		break;
	}
	case POD_GNSS_EXPECT_RESPONSE:
		if (starts_with(body, len, name)) {
			bool matches;
			int idx = pod_lc29h_check_answer(body, len, &matches);

			if (idx >= 0 && matches) {
				answers_matching |= BIT(idx);
			}
			if (strcmp(name, "PQTMVERNO") == 0) {
				size_t n = MIN(len - name_len - 1, sizeof(version) - 1);

				memcpy(version, &body[name_len + 1], n);
				version[n] = '\0';
			}
			waiting_result = 0;
			k_sem_give(&ack_sem);
		}
		break;
	default:
		break;
	}
}

static void handle_ack(const char *body, size_t len)
{
	k_spinlock_key_t key = k_spin_lock(&wait_lock);

	if (waiting != NULL) {
		handle_ack_locked(waiting, body, len);
	}
	k_spin_unlock(&wait_lock, key);
}

static void set_waiting(const struct pod_gnss_command *cmd)
{
	k_spinlock_key_t key = k_spin_lock(&wait_lock);

	waiting = cmd;
	k_spin_unlock(&wait_lock, key);
}

static void on_nmea(void *ctx, const char *line, size_t len)
{
	const char *body;
	size_t body_len;

	ARG_UNUSED(ctx);
	if (pod_nmea_verify(line, len, &body, &body_len) != POD_OK) {
		return;
	}
	if (starts_with(body, body_len, "PQTMPVT")) {
		if (pod_pqtmpvt_parse(body, body_len, &building) == POD_OK) {
			k_mutex_lock(&pvt_lock, K_FOREVER);
			latest = building;
			k_mutex_unlock(&pvt_lock);
			/* TODO(B-904): gnss_pvt record into the log and live summary update. */
		}
	} else if (starts_with(body, body_len, "PQTMVEL")) {
		(void)pod_pqtmvel_parse(body, body_len, &building);
	} else if (starts_with(body, body_len, "PQTMEPE")) {
		(void)pod_pqtmepe_parse(body, body_len, &building);
	} else {
		handle_ack(body, body_len);
	}
}

static void on_rtcm(void *ctx, const uint8_t *frame, size_t len)
{
	ARG_UNUSED(ctx);
	ARG_UNUSED(frame);
	/*
	 * TODO(B-904): collect the MSM7 + ephemerides frames of the whole-second
	 * epoch into one `gnss_raw` record (format rtcm3_msm7) at 1 Hz; drop the
	 * other nine epochs if the module outputs raw at 10 Hz.
	 */
	LOG_DBG("RTCM frame %u B", (unsigned int)len);
}

static int send_command(const struct pod_gnss_command *cmd)
{
	char line[POD_NMEA_MAX_LEN];
	int n = pod_nmea_build(cmd->body, line, sizeof(line));

	if (n < 0) {
		return n;
	}
	for (int attempt = 0; attempt < 3; attempt++) {
		k_sem_reset(&ack_sem);
		set_waiting(cmd);
		for (int i = 0; i < n; i++) {
			uart_poll_out(uart, line[i]);
		}
		if (cmd->expect == POD_GNSS_EXPECT_NONE) {
			set_waiting(NULL);
			break;
		}
		if (k_sem_take(&ack_sem, K_MSEC(cmd->timeout_ms)) != 0) {
			set_waiting(NULL);
			LOG_WRN("%s: no answer", cmd->body);
			return -ETIMEDOUT;
		}
		set_waiting(NULL);
		if (cmd->expect == POD_GNSS_EXPECT_PAIR_ACK && waiting_result == POD_PAIR_BUSY) {
			continue; /* retry on "busy" */
		}
		if (waiting_result != 0) {
			/* Every unsupported command is logged: it reveals a variant or firmware change. */
			LOG_WRN("%s: result %d", cmd->body, waiting_result);
			return -EIO;
		}
		break;
	}
	if (cmd->delay_after_ms != 0) {
		k_sleep(K_MSEC(cmd->delay_after_ms));
	}
	return 0;
}

static int run_sequence(const struct pod_gnss_command *seq, size_t n)
{
	int failures = 0;

	for (size_t i = 0; i < n; i++) {
		if (send_command(&seq[i]) != 0) {
			failures++;
		}
	}
	return failures == 0 ? 0 : -EIO;
}

static void rx_thread(void *a, void *b, void *c)
{
	ARG_UNUSED(a);
	ARG_UNUSED(b);
	ARG_UNUSED(c);
	for (;;) {
		uint8_t buf[128];
		uint32_t n;

		k_sem_take(&rx_sem, K_FOREVER);
		while ((n = ring_buf_get(&rx_ring, buf, sizeof(buf))) > 0) {
			pod_gnss_stream_feed(&stream, buf, n);
		}
	}
}

K_THREAD_DEFINE(gnss_rx, 2048, rx_thread, NULL, NULL, NULL, 5, 0, 0);

static void pin_actions(const struct pod_gnss_pin_action *actions, size_t n)
{
	for (size_t i = 0; i < n; i++) {
		switch (actions[i].step) {
		case POD_GNSS_STEP_SEND_COMMANDS:
			(void)run_sequence(pod_lc29h_enter_backup, pod_lc29h_enter_backup_len);
			break;
		case POD_GNSS_STEP_EN_LOW:
			(void)gpio_pin_set_dt(&en, 0);
			break;
		case POD_GNSS_STEP_EN_HIGH:
			(void)gpio_pin_set_dt(&en, 1);
			break;
		case POD_GNSS_STEP_WAKEUP_HIGH:
			(void)gpio_pin_configure_dt(&wakeup, GPIO_OUTPUT_ACTIVE);
			break;
		case POD_GNSS_STEP_WAKEUP_RELEASE:
			/* Input with the buffer disconnected: no leak against the Hall pad. */
			(void)gpio_pin_configure_dt(&wakeup, GPIO_DISCONNECTED);
			break;
		case POD_GNSS_STEP_WAIT_MS:
		case POD_GNSS_STEP_WAIT_FIRST_LINE:
			/* TODO(B-904): wait for the first NMEA / $PQTMVER instead of a fixed time. */
			k_sleep(K_MSEC(actions[i].ms));
			break;
		}
	}
}

/*
 * GNSS worker: the only thread that drives the module (pins and commands), so
 * the main loop never blocks on it and nothing is sent concurrently. It powers
 * the module only when asked (the power machine asks in ACTIVE, never on the
 * dock), and on every power-on sends the queries, the NVM part only if the
 * configuration differs, and the runtime part.
 */
static void configure(void)
{
	int rc;

	answers_matching = 0;
	/*
	 * TODO(B-904): if $PQTMVERNO does not answer at CONFIG_POD_GNSS_BAUD, reopen
	 * at CONFIG_POD_GNSS_FALLBACK_BAUD, send $PAIR864,0,0,921600, save and reboot
	 * the module (lc29h-protocolo.md, step 0).
	 */
	(void)run_sequence(pod_lc29h_aa_queries, pod_lc29h_aa_queries_len);
	if (answers_matching != BIT_MASK(pod_lc29h_aa_expected_len)) {
		/* Something differs (or did not answer): write and save the NVM once. */
		LOG_INF("GNSS configuration differs (0x%x): writing the NVM", answers_matching);
		(void)run_sequence(pod_lc29h_aa_nvm, pod_lc29h_aa_nvm_len);
	}
	rc = run_sequence(pod_lc29h_aa_runtime, pod_lc29h_aa_runtime_len);
	LOG_INF("GNSS %s, configuration %s", version[0] ? version : "?",
		rc == 0 ? "ok" : "with errors");
}

static void worker(void *a, void *b, void *c)
{
	bool powered = false;

	ARG_UNUSED(a);
	ARG_UNUSED(b);
	ARG_UNUSED(c);
	for (;;) {
		bool on;

		k_sem_take(&request_sem, K_FOREVER);
		on = atomic_get(&want_on) != 0;
		if (on && !powered) {
			pin_actions(pod_lc29h_backup_exit_actions, pod_lc29h_backup_exit_actions_len);
			powered = true;
			configure();
		} else if (!on && powered) {
			pin_actions(pod_lc29h_backup_enter_actions, pod_lc29h_backup_enter_actions_len);
			powered = false;
		}
	}
}

K_THREAD_DEFINE(gnss_worker, 2048, worker, NULL, NULL, NULL, 6, 0, SYS_FOREVER_MS);

int pod_gnss_power(bool on)
{
	if (en.port == NULL) {
		return -ENODEV;
	}
	atomic_set(&want_on, on ? 1 : 0);
	k_sem_give(&request_sem);
	return 0;
}

int pod_gnss_init(void)
{
	if (!device_is_ready(uart)) {
		return -ENODEV;
	}
	pod_gnss_stream_init(&stream, on_nmea, on_rtcm, NULL);
	if (en.port != NULL) {
		/* Off until the power machine asks (100 kΩ pull-down keeps it off in reset). */
		(void)gpio_pin_configure_dt(&en, GPIO_OUTPUT_INACTIVE);
	}
	if (reset.port != NULL) {
		(void)gpio_pin_configure_dt(&reset, GPIO_OUTPUT_INACTIVE);
	}
	if (wakeup.port != NULL) {
		(void)gpio_pin_configure_dt(&wakeup, GPIO_DISCONNECTED);
	}
	uart_irq_callback_user_data_set(uart, uart_isr, NULL);
	uart_irq_rx_enable(uart);
	k_thread_start(gnss_worker);
	return 0;
}

void pod_gnss_latest(struct pod_gnss_pvt *pvt)
{
	k_mutex_lock(&pvt_lock, K_FOREVER);
	*pvt = latest;
	k_mutex_unlock(&pvt_lock);
}

const char *pod_gnss_version(void)
{
	return version;
}
```

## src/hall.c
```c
/*
 * Vest detection: DRV5032FA (omnipolar, push-pull, 20 Hz; the FB at 5 Hz is the
 * approved alternate) on HALL_INT, low with the pocket magnet. The System OFF
 * SENSE is armed on the level opposite to the current one (app/src/power.c), so
 * it is never active when the pod sleeps.
 */
#include <zephyr/drivers/gpio.h>

#include "pod_app.h"

static const struct gpio_dt_spec hall = GPIO_DT_SPEC_GET(DT_PATH(zephyr_user), hall_gpios);

int pod_hall_init(void)
{
	if (!gpio_is_ready_dt(&hall)) {
		return -ENODEV;
	}
	/* No pull: push-pull output through the series resistor (pod-v0.md, NFC pads). */
	return gpio_pin_configure_dt(&hall, GPIO_INPUT);
}

bool pod_hall_in_vest(void)
{
	/* Active low in the devicetree: 1 = magnet present = in the vest. */
	return gpio_pin_get_dt(&hall) == 1;
}
```

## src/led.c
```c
/*
 * RGB status LED on PWM0 (three channels to the NMOS gates). The pattern table
 * is pure (firmware/lib/src/led.c, host-tested); this file only writes duties.
 */
#include <string.h>

#include <zephyr/drivers/pwm.h>
#include <zephyr/kernel.h>

#include "pod_app.h"

static const struct pwm_dt_spec red = PWM_DT_SPEC_GET(DT_ALIAS(led_red));
static const struct pwm_dt_spec green = PWM_DT_SPEC_GET(DT_ALIAS(led_green));
static const struct pwm_dt_spec blue = PWM_DT_SPEC_GET(DT_ALIAS(led_blue));

static struct pod_led_pattern pattern;
static uint32_t started_ms;
static bool restart = true;
/** Club brightness (‰); match mode lowers it or turns the LED off (beacon LED mode). */
static uint16_t brightness_permille = 1000;

int pod_led_init(void)
{
	if (!pwm_is_ready_dt(&red) || !pwm_is_ready_dt(&green) || !pwm_is_ready_dt(&blue)) {
		return -ENODEV;
	}
	pod_led_show(POD_LED_BOOT, 0);
	return 0;
}

void pod_led_show(enum pod_led_state state, uint8_t param)
{
	struct pod_led_pattern next;

	if (!pod_led_pattern(state, param, &next)) {
		return;
	}
	if (memcmp(&next, &pattern, sizeof(next)) != 0) {
		pattern = next;
		restart = true;
	}
}

static void write(const struct pwm_dt_spec *spec, uint16_t permille)
{
	(void)pwm_set_pulse_dt(spec, (uint32_t)((uint64_t)spec->period * permille / 1000u));
}

void pod_led_update(uint32_t now_ms, uint16_t vsys_mv)
{
	struct pod_rgb rgb;

	if (restart) {
		started_ms = now_ms;
		restart = false;
	}
	rgb = pod_led_sample(&pattern, now_ms - started_ms, brightness_permille, vsys_mv);
	write(&red, rgb.r);
	write(&green, rgb.g);
	write(&blue, rgb.b);
}
```
